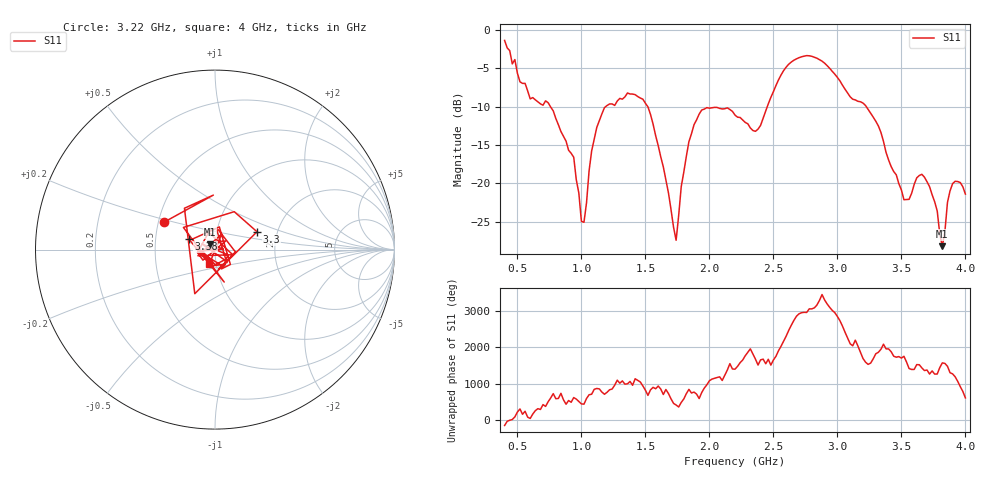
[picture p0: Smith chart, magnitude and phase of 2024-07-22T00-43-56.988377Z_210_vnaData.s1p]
!Created with skrf (http://scikit-rf.org).
# Hz S RI R 50.0
!freq ReS11 ImS11
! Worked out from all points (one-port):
!   181 points, 400 MHz to 4 GHz, reference 50 ohm
!   lowest |S11| = -28.2 dB at 3.82 GHz (marker M1), VSWR 1.08, Z = 47.4 + j2.72 ohm
!   |S11| at or under -10 dB: 758.5 MHz to 1.189 GHz (430.4 MHz wide, 44.2 % of centre); 1.519 GHz to 2.452 GHz (932.8 MHz wide, 47 % of centre); 3.226 GHz to end of sweep
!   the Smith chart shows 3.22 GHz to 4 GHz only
!   S11 on the Smith chart (normalised r, x): 3.22 GHz: 0.54, +0.18; 3.3 GHz: 1.57, +0.33; 3.38 GHz: 0.74, +0.09; 4 GHz: 0.93, -0.15
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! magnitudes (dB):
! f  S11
! 400 MHz  -1.3
! 600 MHz  -9.0
! 740 MHz  -9.5
! 860 MHz  -13.9
! 940 MHz  -16.6
! 1 GHz  -25.0
! 1.02 GHz  -25.1
! 1.12 GHz  -12.7
! 1.3 GHz  -8.9
! 1.52 GHz  -10.0
! 1.74 GHz  -27.5
! 1.76 GHz  -24.2
! 1.84 GHz  -14.6
! 1.92 GHz  -11.0
! 2.2 GHz  -11.1
! 2.38 GHz  -12.9
! 2.66 GHz  -3.9
! 2.88 GHz  -4.0
! 3.1 GHz  -8.7
! 3.22 GHz  -9.8
! 3.3 GHz  -11.9
! 3.38 GHz  -16.0
! 3.56 GHz  -22.1
! 3.68 GHz  -19.2
! 3.78 GHz  -23.6
! 3.82 GHz  -28.2
! 3.9 GHz  -20.1
! 4 GHz  -21.4
